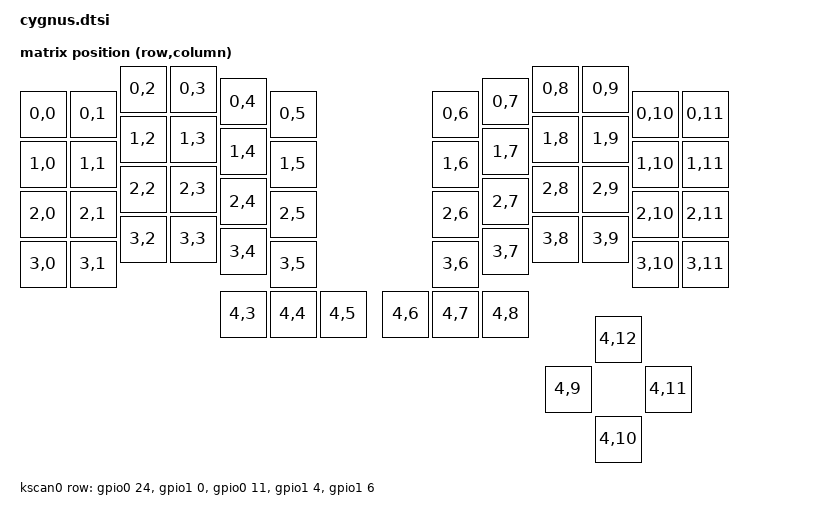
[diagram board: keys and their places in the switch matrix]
/*
 * Copyright (c) 2025 Noir Guo
 *
 * SPDX-License-Identifier: MIT
 */

#include <dt-bindings/zmk/matrix_transform.h>
#include <dt-bindings/led/led.h>
#include <physical_layouts.dtsi>

/ {
    cygnus_layout0: cygnus_layout_0 {
        compatible = "zmk,physical-layout";
        display-name = "Cygnus";

        kscan = <&kscan0>;
        transform = <&matrix_transform0>;

        keys  //                     w   h    x    y     rot    rx    ry
            = <&key_physical_attrs 100 100    0   50       0     0     0>
            , <&key_physical_attrs 100 100  100   50       0     0     0>
            , <&key_physical_attrs 100 100  200    0       0     0     0>
            , <&key_physical_attrs 100 100  300    0       0     0     0>
            , <&key_physical_attrs 100 100  400   25       0     0     0>
            , <&key_physical_attrs 100 100  500   50       0     0     0>
            , <&key_physical_attrs 100 100  825   50       0     0     0>
            , <&key_physical_attrs 100 100  925   25       0     0     0>
            , <&key_physical_attrs 100 100 1025    0       0     0     0>
            , <&key_physical_attrs 100 100 1125    0       0     0     0>
            , <&key_physical_attrs 100 100 1225   50       0     0     0>
            , <&key_physical_attrs 100 100 1325   50       0     0     0>
            , <&key_physical_attrs 100 100    0  150       0     0     0>
            , <&key_physical_attrs 100 100  100  150       0     0     0>
            , <&key_physical_attrs 100 100  200  100       0     0     0>
            , <&key_physical_attrs 100 100  300  100       0     0     0>
            , <&key_physical_attrs 100 100  400  125       0     0     0>
            , <&key_physical_attrs 100 100  500  150       0     0     0>
            , <&key_physical_attrs 100 100  825  150       0     0     0>
            , <&key_physical_attrs 100 100  925  125       0     0     0>
            , <&key_physical_attrs 100 100 1025  100       0     0     0>
            , <&key_physical_attrs 100 100 1125  100       0     0     0>
            , <&key_physical_attrs 100 100 1225  150       0     0     0>
            , <&key_physical_attrs 100 100 1325  150       0     0     0>
            , <&key_physical_attrs 100 100    0  250       0     0     0>
            , <&key_physical_attrs 100 100  100  250       0     0     0>
            , <&key_physical_attrs 100 100  200  200       0     0     0>
            , <&key_physical_attrs 100 100  300  200       0     0     0>
            , <&key_physical_attrs 100 100  400  225       0     0     0>
            , <&key_physical_attrs 100 100  500  250       0     0     0>
            , <&key_physical_attrs 100 100  825  250       0     0     0>
            , <&key_physical_attrs 100 100  925  225       0     0     0>
            , <&key_physical_attrs 100 100 1025  200       0     0     0>
            , <&key_physical_attrs 100 100 1125  200       0     0     0>
            , <&key_physical_attrs 100 100 1225  250       0     0     0>
            , <&key_physical_attrs 100 100 1325  250       0     0     0>
            , <&key_physical_attrs 100 100    0  350       0     0     0>
            , <&key_physical_attrs 100 100  100  350       0     0     0>
            , <&key_physical_attrs 100 100  200  300       0     0     0>
            , <&key_physical_attrs 100 100  300  300       0     0     0>
            , <&key_physical_attrs 100 100  400  325       0     0     0>
            , <&key_physical_attrs 100 100  500  350       0     0     0>
            , <&key_physical_attrs 100 100  825  350       0     0     0>
            , <&key_physical_attrs 100 100  925  325       0     0     0>
            , <&key_physical_attrs 100 100 1025  300       0     0     0>
            , <&key_physical_attrs 100 100 1125  300       0     0     0>
            , <&key_physical_attrs 100 100 1225  350       0     0     0>
            , <&key_physical_attrs 100 100 1325  350       0     0     0>
            , <&key_physical_attrs 100 100  400  450       0     0     0>
            , <&key_physical_attrs 100 100  500  450       0     0     0>
            , <&key_physical_attrs 100 100  600  450       0     0     0>
            , <&key_physical_attrs 100 100  725  450       0     0     0>
            , <&key_physical_attrs 100 100  825  450       0     0     0>
            , <&key_physical_attrs 100 100  925  450       0     0     0>
            , <&key_physical_attrs 100 100 1050  600       0     0     0>
            , <&key_physical_attrs 100 100 1150  700       0     0     0>
            , <&key_physical_attrs 100 100 1250  600       0     0     0>
            , <&key_physical_attrs 100 100 1150  500       0     0     0>
            ;
    };
};

/ {
    chosen {
        zmk,kscan = &kscan0;
        zmk,physical-layouts = &cygnus_layout0;
        zmk,underglow = &led_strip;
    };

    default_transform: keymap_transform_0 {
        compatible = "zmk,matrix-transform";
        columns = <13>;
        rows = <5>;

        map = <
   RC(0,0) RC(0,1) RC(0,2) RC(0,3) RC(0,4) RC(0,5)   RC(0,6) RC(0,7) RC(0,8) RC(0,9) RC(0,10) RC(0,11)
   RC(1,0) RC(1,1) RC(1,2) RC(1,3) RC(1,4) RC(1,5)   RC(1,6) RC(1,7) RC(1,8) RC(1,9) RC(1,10) RC(1,11)
   RC(2,0) RC(2,1) RC(2,2) RC(2,3) RC(2,4) RC(2,5)   RC(2,6) RC(2,7) RC(2,8) RC(2,9) RC(2,10) RC(2,11)
   RC(3,0) RC(3,1) RC(3,2) RC(3,3) RC(3,4) RC(3,5)   RC(3,6) RC(3,7) RC(3,8) RC(3,9) RC(3,10) RC(3,11)
                           RC(4,3) RC(4,4) RC(4,5)   RC(4,6) RC(4,7) RC(4,8) RC(4,9) RC(4,10) RC(4,11) RC(4,12)

        >;
    };

    kscan0: kscan {
        compatible = "zmk,kscan-gpio-matrix";
        diode-direction = "col2row";
        wakeup-source;

        row-gpios
            = <&gpio0 24 (GPIO_ACTIVE_HIGH | GPIO_PULL_DOWN)>
            , <&gpio1 0 (GPIO_ACTIVE_HIGH | GPIO_PULL_DOWN)>
            , <&gpio0 11 (GPIO_ACTIVE_HIGH | GPIO_PULL_DOWN)>
            , <&gpio1 4 (GPIO_ACTIVE_HIGH | GPIO_PULL_DOWN)>
            , <&gpio1 6 (GPIO_ACTIVE_HIGH | GPIO_PULL_DOWN)>
        ;

    };

};

&cygnus_layout0{

	transform = <&default_transform>;

	kscan = <&kscan0>;

};



zephyr_udc0: &usbd { 

    compatible = "nordic,nrf-usbd"; 

    status = "okay"; 

};
